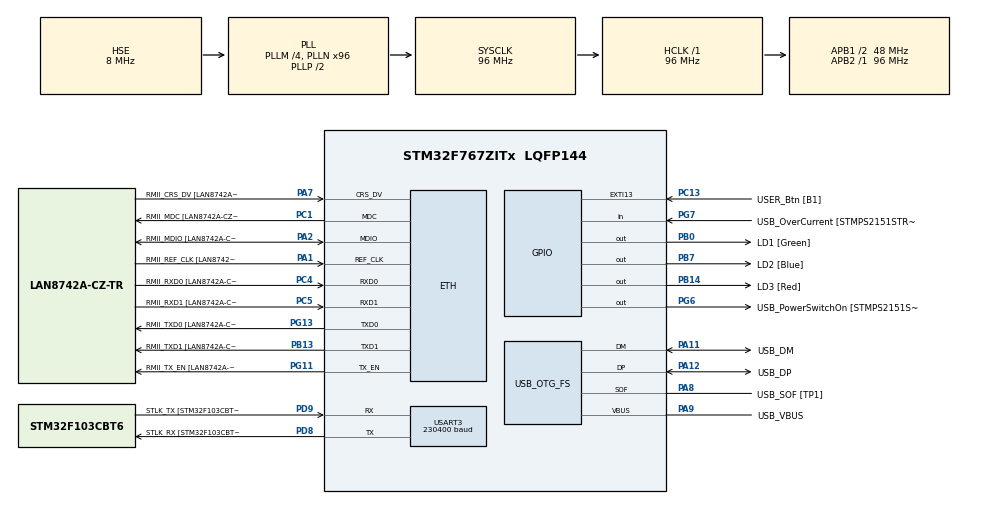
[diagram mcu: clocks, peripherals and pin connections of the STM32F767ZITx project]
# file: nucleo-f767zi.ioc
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ADC1.Channel-0\#ChannelRegularConversion=ADC_CHANNEL_TEMPSENSOR
ADC1.ContinuousConvMode=ENABLE
ADC1.DMAContinuousRequests=ENABLE
ADC1.NbrOfConversionFlag=1
ADC1.Rank-0\#ChannelRegularConversion=1
ADC1.SamplingTime-0\#ChannelRegularConversion=ADC_SAMPLETIME_480CYCLES
ADC1.master=1
CORTEX_M7.default_mode_Activation=1
Dma.ADC1.0.Direction=DMA_PERIPH_TO_MEMORY
Dma.ADC1.0.FIFOMode=DMA_FIFOMODE_DISABLE
Dma.ADC1.0.Instance=DMA2_Stream0
Dma.ADC1.0.MemDataAlignment=DMA_MDATAALIGN_HALFWORD
Dma.ADC1.0.MemInc=DMA_MINC_ENABLE
Dma.ADC1.0.Mode=DMA_CIRCULAR
Dma.ADC1.0.PeriphDataAlignment=DMA_PDATAALIGN_HALFWORD
Dma.ADC1.0.PeriphInc=DMA_PINC_DISABLE
Dma.ADC1.0.Priority=DMA_PRIORITY_LOW
Dma.Request0=ADC1
ETH.MediaInterface=HAL_ETH_RMII_MODE
ETH.PHY_Name=LAN8742A_PHY_ADDRESS
ETH.PHY_Value=0
ETH.PhyAddress=0
Mcu.Family=STM32F7
Mcu.Name=STM32F767ZITx
Mcu.Package=LQFP144
NVIC.DMA2_Stream0_IRQn=true\:0\:0\:false\:false\:true\:false\:true\:true
NVIC.PriorityGroup=NVIC_PRIORITYGROUP_4
NVIC.USART3_IRQn=true\:0\:0\:false\:false\:true\:true\:true\:true
PA1.GPIO_Label=RMII_REF_CLK [LAN8742A-CZ-TR_REFCLK0]
PA1.Mode=RMII
PA1.Signal=ETH_REF_CLK
PA10.GPIO_Label=USB_ID
PA10.Signal=USB_OTG_FS_ID
PA11.GPIO_Label=USB_DM
PA11.Mode=Device_Only
PA11.Signal=USB_OTG_FS_DM
PA12.GPIO_Label=USB_DP
PA12.Mode=Device_Only
PA12.Signal=USB_OTG_FS_DP
PA13.GPIO_Label=TMS
PA13.Mode=Serial_Wire
PA13.Signal=SYS_JTMS-SWDIO
PA14.GPIO_Label=TCK
PA14.Mode=Serial_Wire
PA14.Signal=SYS_JTCK-SWCLK
PA2.GPIO_Label=RMII_MDIO [LAN8742A-CZ-TR_MDIO]
PA2.Mode=RMII
PA2.Signal=ETH_MDIO
PA7.GPIO_Label=RMII_CRS_DV [LAN8742A-CZ-TR_CRS_DV]
PA7.Mode=RMII
PA7.Signal=ETH_CRS_DV
PA8.GPIO_Label=USB_SOF [TP1]
PA8.Mode=Activate_SOF_FS
PA8.Signal=USB_OTG_FS_SOF
PA9.GPIO_Label=USB_VBUS
PA9.Mode=Activate_VBUS
PA9.Signal=USB_OTG_FS_VBUS
PB0.GPIO_Label=LD1 [Green]
PB0.Signal=GPIO_Output
PB13.GPIO_Label=RMII_TXD1 [LAN8742A-CZ-TR_TXD1]
PB13.Mode=RMII
PB13.Signal=ETH_TXD1
PB14.GPIO_Label=LD3 [Red]
PB14.Signal=GPIO_Output
PB3.GPIO_Label=SWO
PB3.Signal=SYS_JTDO-SWO
PB7.GPIO_Label=LD2 [Blue]
PB7.Signal=GPIO_Output
PC1.GPIO_Label=RMII_MDC [LAN8742A-CZ-TR_MDC]
PC1.Mode=RMII
PC1.Signal=ETH_MDC
PC13.GPIO_Label=USER_Btn [B1]
PC13.Signal=GPXTI13
PC14/OSC32_IN.Mode=LSE-External-Oscillator
PC14/OSC32_IN.Signal=RCC_OSC32_IN
PC15/OSC32_OUT.Mode=LSE-External-Oscillator
PC15/OSC32_OUT.Signal=RCC_OSC32_OUT
PC4.GPIO_Label=RMII_RXD0 [LAN8742A-CZ-TR_RXD0]
PC4.Mode=RMII
PC4.Signal=ETH_RXD0
PC5.GPIO_Label=RMII_RXD1 [LAN8742A-CZ-TR_RXD1]
PC5.Mode=RMII
PC5.Signal=ETH_RXD1
PD8.GPIO_Label=STLK_RX [STM32F103CBT6_PA3]
PD8.Mode=Asynchronous
PD8.Signal=USART3_TX
PD9.GPIO_Label=STLK_TX [STM32F103CBT6_PA2]
PD9.Mode=Asynchronous
PD9.Signal=USART3_RX
PG11.GPIO_Label=RMII_TX_EN [LAN8742A-CZ-TR_TXEN]
PG11.Mode=RMII
PG11.Signal=ETH_TX_EN
PG13.GPIO_Label=RMII_TXD0 [LAN8742A-CZ-TR_TXD0]
PG13.Mode=RMII
PG13.Signal=ETH_TXD0
PG6.GPIO_Label=USB_PowerSwitchOn [STMPS2151STR_EN]
PG6.Signal=GPIO_Output
PG7.GPIO_Label=USB_OverCurrent [STMPS2151STR_FAULT]
PG7.Signal=GPIO_Input
PH0/OSC_IN.GPIO_Label=MCO [STM32F103CBT6_PA8]
PH0/OSC_IN.Mode=HSE-External-Clock-Source
PH0/OSC_IN.Signal=RCC_OSC_IN
PH1/OSC_OUT.Mode=HSE-External-Clock-Source
PH1/OSC_OUT.Signal=RCC_OSC_OUT
ProjectManager.HeapSize=0x200
ProjectManager.StackSize=0x400
ProjectManager.TargetToolchain=CMake
RCC.48MHZClocksFreq_Value=24000000
RCC.AHBFreq_Value=96000000
RCC.APB1CLKDivider=RCC_HCLK_DIV2
RCC.APB1Freq_Value=48000000
RCC.APB1TimFreq_Value=96000000
RCC.APB2Freq_Value=96000000
RCC.APB2TimFreq_Value=96000000
RCC.CortexFreq_Value=96000000
RCC.HCLKFreq_Value=96000000
RCC.HSE_VALUE=8000000
RCC.HSI_VALUE=16000000
RCC.PLLM=4
RCC.PLLMUL=RCC_PLL_MUL9
RCC.PLLN=96
RCC.PLLQ=4
RCC.PRESCALERUSB=RCC_USBCLKSOURCE_PLL_DIV1_5
RCC.SYSCLKFreq_VALUE=96000000
RCC.SYSCLKSource=RCC_SYSCLKSOURCE_PLLCLK
RCC.SYSCLKSourceVirtual=RCC_SYSCLKSOURCE_PLLCLK
RCC.USBFreq_Value=48000000
RCC.VCOOutputFreq_Value=192000000
USART3.BaudRate=230400
USART3.Mode=MODE_TX
USART3.VirtualMode-Asynchronous=VM_ASYNC
USB_OTG_FS.VirtualMode=Device_Only
VP_ADC1_TempSens_Input.Mode=IN-TempSens
VP_RNG_VS_RNG.Mode=RNG_Activate
board=NUCLEO-F767ZI

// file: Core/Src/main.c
/* USER CODE BEGIN Header */
/**
 ******************************************************************************
 * @file           : main.c
 * @brief          : Main program body
 ******************************************************************************
 * @attention
 *
 * Copyright (c) 2026 STMicroelectronics.
 * All rights reserved.
 *
 * This software is licensed under terms that can be found in the LICENSE file
 * in the root directory of this software component.
 * If no LICENSE file comes with this software, it is provided AS-IS.
 *
 ******************************************************************************
 */
/* USER CODE END Header */
#include "main.h"
#include "string.h"

/* USER CODE BEGIN Includes */
#include <stdio.h>

/* USER CODE END Includes */

/* USER CODE BEGIN PD */
#define UART3_TX_BUF_LEN 1024

/* USER CODE END PD */

#if defined(__ICCARM__) /*!< IAR Compiler */
#pragma location = 0x2007c000
ETH_DMADescTypeDef
    DMARxDscrTab[ETH_RX_DESC_CNT]; /* Ethernet Rx DMA Descriptors */
#pragma location = 0x2007c0a0
ETH_DMADescTypeDef
    DMATxDscrTab[ETH_TX_DESC_CNT]; /* Ethernet Tx DMA Descriptors */

#elif defined(__CC_ARM) /* MDK ARM Compiler */

__attribute__((at(0x2007c000))) ETH_DMADescTypeDef
    DMARxDscrTab[ETH_RX_DESC_CNT]; /* Ethernet Rx DMA Descriptors */
__attribute__((at(0x2007c0a0))) ETH_DMADescTypeDef
    DMATxDscrTab[ETH_TX_DESC_CNT]; /* Ethernet Tx DMA Descriptors */

#elif defined(__GNUC__) /* GNU Compiler */

ETH_DMADescTypeDef DMARxDscrTab[ETH_RX_DESC_CNT] __attribute__((
    section(".RxDecripSection"))); /* Ethernet Rx DMA Descriptors */
ETH_DMADescTypeDef DMATxDscrTab[ETH_TX_DESC_CNT] __attribute__((
    section(".TxDecripSection"))); /* Ethernet Tx DMA Descriptors */
#endif

ETH_TxPacketConfig TxConfig;

ADC_HandleTypeDef hadc1;
DMA_HandleTypeDef hdma_adc1;

ETH_HandleTypeDef heth;

RNG_HandleTypeDef hrng;

UART_HandleTypeDef huart3;

PCD_HandleTypeDef hpcd_USB_OTG_FS;

/* USER CODE BEGIN PV */
uint8_t uart3_tx_buf[UART3_TX_BUF_LEN];
uint32_t uart3_tx_head = 0;
uint32_t uart3_tx_tail = 0;

uint16_t adc_temperature[1];

/* USER CODE END PV */

void SystemClock_Config(void);
static void MPU_Config(void);
static void MX_GPIO_Init(void);
static void MX_DMA_Init(void);
static void MX_ETH_Init(void);
static void MX_USART3_UART_Init(void);
static void MX_USB_OTG_FS_PCD_Init(void);
static void MX_RNG_Init(void);
static void MX_ADC1_Init(void);
/* USER CODE BEGIN PFP */
void LED_Blink_Step();
void Uart3_Tx_Step();
void Adc_Temperature_Print_Step();

int __io_putchar(int ch);

/* USER CODE END PFP */

/* USER CODE BEGIN 0 */
void LED_Blink_Step() {
  HAL_GPIO_TogglePin(LD1_GPIO_Port, LD1_Pin);
  HAL_GPIO_TogglePin(LD2_GPIO_Port, LD2_Pin);
  HAL_GPIO_TogglePin(LD3_GPIO_Port, LD3_Pin);
}

void Uart3_Tx_Step() {
  if (huart3.gState != HAL_UART_STATE_READY) {
    return;
  }

  fflush(stdout);

  uint32_t len;
  if (uart3_tx_head >= uart3_tx_tail) {
    len = uart3_tx_head - uart3_tx_tail;
  } else {
    len = UART3_TX_BUF_LEN + uart3_tx_head - uart3_tx_tail;
  }
  if (len == 0) {
    return;
  }

  uint32_t chunk = UART3_TX_BUF_LEN - uart3_tx_tail;
  if (chunk > len) {
    chunk = len;
  }

  HAL_UART_Transmit_IT(&huart3, uart3_tx_buf + uart3_tx_tail, chunk);
  uart3_tx_tail += chunk;
  uart3_tx_tail %= UART3_TX_BUF_LEN;
}

void Adc_Temperature_Print_Step() {
  float vsence = adc_temperature[0] * 3.3f / 4095.0f;
  float temperature = (vsence - 0.76f) / 0.0025f + 25.0f;
  printf("temperature: %.03f\n", temperature);
}

int __io_putchar(int ch) {
  uart3_tx_buf[uart3_tx_head] = (uint8_t)ch;
  uart3_tx_head += 1;
  uart3_tx_head %= UART3_TX_BUF_LEN;
  return ch;
}

/* USER CODE END 0 */

int main(void) {

  /* MPU Configuration--------------------------------------------------------*/
  MPU_Config();

  /* MCU Configuration--------------------------------------------------------*/

  /* Reset of all peripherals, Initializes the Flash interface and the Systick.
   */
  HAL_Init();

  /* Configure the system clock */
  SystemClock_Config();

  /* Initialize all configured peripherals */
  MX_GPIO_Init();
  MX_DMA_Init();
  MX_ETH_Init();
  MX_USART3_UART_Init();
  MX_USB_OTG_FS_PCD_Init();
  MX_RNG_Init();
  MX_ADC1_Init();
  /* USER CODE BEGIN 2 */
  printf("\nSYSCLK: %.3fM\n", HAL_RCC_GetSysClockFreq() / 1000000.0);

  HAL_ADC_Start_DMA(&hadc1, (uint32_t *)adc_temperature, 1);

  /* USER CODE END 2 */

  /* Infinite loop */
  while (1) {

    /* USER CODE BEGIN 3 */
    Uart3_Tx_Step();

    {
      static uint32_t last = 0;
      static uint32_t delay = 0;
      uint32_t now = HAL_GetTick();
      if (now - last >= delay) {
        last = now;
        delay = HAL_RNG_GetRandomNumber(&hrng) % 1000;
        printf("led delay %03lu\n", delay);
        LED_Blink_Step();
      }
    }

    {
      static uint32_t last = 0;
      static uint32_t delay = 1000;
      uint32_t now = HAL_GetTick();
      if (now - last >= delay) {
        last = now;
        Adc_Temperature_Print_Step();
      }
    }
  }
  /* USER CODE END 3 */
}

void SystemClock_Config(void) {
  RCC_OscInitTypeDef RCC_OscInitStruct = {0};
  RCC_ClkInitTypeDef RCC_ClkInitStruct = {0};

  /** Configure LSE Drive Capability
   */
  HAL_PWR_EnableBkUpAccess();

  /** Configure the main internal regulator output voltage
   */
  __HAL_RCC_PWR_CLK_ENABLE();
  __HAL_PWR_VOLTAGESCALING_CONFIG(PWR_REGULATOR_VOLTAGE_SCALE3);

  /** Initializes the RCC Oscillators according to the specified parameters
   * in the RCC_OscInitTypeDef structure.
   */
  RCC_OscInitStruct.OscillatorType = RCC_OSCILLATORTYPE_HSE;
  RCC_OscInitStruct.HSEState = RCC_HSE_BYPASS;
  RCC_OscInitStruct.PLL.PLLState = RCC_PLL_ON;
  RCC_OscInitStruct.PLL.PLLSource = RCC_PLLSOURCE_HSE;
  RCC_OscInitStruct.PLL.PLLM = 4;
  RCC_OscInitStruct.PLL.PLLN = 96;
  RCC_OscInitStruct.PLL.PLLP = RCC_PLLP_DIV2;
  RCC_OscInitStruct.PLL.PLLQ = 4;
  RCC_OscInitStruct.PLL.PLLR = 2;
  if (HAL_RCC_OscConfig(&RCC_OscInitStruct) != HAL_OK) {
    Error_Handler();
  }

  /** Activate the Over-Drive mode
   */
  if (HAL_PWREx_EnableOverDrive() != HAL_OK) {
    Error_Handler();
  }

  /** Initializes the CPU, AHB and APB buses clocks
   */
  RCC_ClkInitStruct.ClockType = RCC_CLOCKTYPE_HCLK | RCC_CLOCKTYPE_SYSCLK |
                                RCC_CLOCKTYPE_PCLK1 | RCC_CLOCKTYPE_PCLK2;
  RCC_ClkInitStruct.SYSCLKSource = RCC_SYSCLKSOURCE_PLLCLK;
  RCC_ClkInitStruct.AHBCLKDivider = RCC_SYSCLK_DIV1;
  RCC_ClkInitStruct.APB1CLKDivider = RCC_HCLK_DIV2;
  RCC_ClkInitStruct.APB2CLKDivider = RCC_HCLK_DIV1;

  if (HAL_RCC_ClockConfig(&RCC_ClkInitStruct, FLASH_LATENCY_3) != HAL_OK) {
    Error_Handler();
  }
}

static void MX_ADC1_Init(void) {

  ADC_ChannelConfTypeDef sConfig = {0};

  /** Configure the global features of the ADC (Clock, Resolution, Data
   * Alignment and number of conversion)
   */
  hadc1.Instance = ADC1;
  hadc1.Init.ClockPrescaler = ADC_CLOCK_SYNC_PCLK_DIV4;
  hadc1.Init.Resolution = ADC_RESOLUTION_12B;
  hadc1.Init.ScanConvMode = ADC_SCAN_DISABLE;
  hadc1.Init.ContinuousConvMode = ENABLE;
  hadc1.Init.DiscontinuousConvMode = DISABLE;
  hadc1.Init.ExternalTrigConvEdge = ADC_EXTERNALTRIGCONVEDGE_NONE;
  hadc1.Init.ExternalTrigConv = ADC_SOFTWARE_START;
  hadc1.Init.DataAlign = ADC_DATAALIGN_RIGHT;
  hadc1.Init.NbrOfConversion = 1;
  hadc1.Init.DMAContinuousRequests = ENABLE;
  hadc1.Init.EOCSelection = ADC_EOC_SINGLE_CONV;
  if (HAL_ADC_Init(&hadc1) != HAL_OK) {
    Error_Handler();
  }

  /** Configure for the selected ADC regular channel its corresponding rank in
   * the sequencer and its sample time.
   */
  sConfig.Channel = ADC_CHANNEL_TEMPSENSOR;
  sConfig.Rank = ADC_REGULAR_RANK_1;
  sConfig.SamplingTime = ADC_SAMPLETIME_480CYCLES;
  if (HAL_ADC_ConfigChannel(&hadc1, &sConfig) != HAL_OK) {
    Error_Handler();
  }
}

static void MX_ETH_Init(void) {

  static uint8_t MACAddr[6];

  heth.Instance = ETH;
  MACAddr[0] = 0x00;
  MACAddr[1] = 0x80;
  MACAddr[2] = 0xE1;
  MACAddr[3] = 0x00;
  MACAddr[4] = 0x00;
  MACAddr[5] = 0x00;
  heth.Init.MACAddr = &MACAddr[0];
  heth.Init.MediaInterface = HAL_ETH_RMII_MODE;
  heth.Init.TxDesc = DMATxDscrTab;
  heth.Init.RxDesc = DMARxDscrTab;
  heth.Init.RxBuffLen = 1524;

  if (HAL_ETH_Init(&heth) != HAL_OK) {
    Error_Handler();
  }

  memset(&TxConfig, 0, sizeof(ETH_TxPacketConfig));
  TxConfig.Attributes =
      ETH_TX_PACKETS_FEATURES_CSUM | ETH_TX_PACKETS_FEATURES_CRCPAD;
  TxConfig.ChecksumCtrl = ETH_CHECKSUM_IPHDR_PAYLOAD_INSERT_PHDR_CALC;
  TxConfig.CRCPadCtrl = ETH_CRC_PAD_INSERT;
}

static void MX_RNG_Init(void) {

  hrng.Instance = RNG;
  if (HAL_RNG_Init(&hrng) != HAL_OK) {
    Error_Handler();
  }
}

static void MX_USART3_UART_Init(void) {

  huart3.Instance = USART3;
  huart3.Init.BaudRate = 230400;
  huart3.Init.WordLength = UART_WORDLENGTH_8B;
  huart3.Init.StopBits = UART_STOPBITS_1;
  huart3.Init.Parity = UART_PARITY_NONE;
  huart3.Init.Mode = UART_MODE_TX;
  huart3.Init.HwFlowCtl = UART_HWCONTROL_NONE;
  huart3.Init.OverSampling = UART_OVERSAMPLING_16;
  huart3.Init.OneBitSampling = UART_ONE_BIT_SAMPLE_DISABLE;
  huart3.AdvancedInit.AdvFeatureInit = UART_ADVFEATURE_NO_INIT;
  if (HAL_UART_Init(&huart3) != HAL_OK) {
    Error_Handler();
  }
}

static void MX_USB_OTG_FS_PCD_Init(void) {

  hpcd_USB_OTG_FS.Instance = USB_OTG_FS;
  hpcd_USB_OTG_FS.Init.dev_endpoints = 6;
  hpcd_USB_OTG_FS.Init.speed = PCD_SPEED_FULL;
  hpcd_USB_OTG_FS.Init.dma_enable = DISABLE;
  hpcd_USB_OTG_FS.Init.phy_itface = PCD_PHY_EMBEDDED;
  hpcd_USB_OTG_FS.Init.Sof_enable = ENABLE;
  hpcd_USB_OTG_FS.Init.low_power_enable = DISABLE;
  hpcd_USB_OTG_FS.Init.lpm_enable = DISABLE;
  hpcd_USB_OTG_FS.Init.vbus_sensing_enable = ENABLE;
  hpcd_USB_OTG_FS.Init.use_dedicated_ep1 = DISABLE;
  if (HAL_PCD_Init(&hpcd_USB_OTG_FS) != HAL_OK) {
    Error_Handler();
  }
}

static void MX_DMA_Init(void) {

  /* DMA controller clock enable */
  __HAL_RCC_DMA2_CLK_ENABLE();

  /* DMA interrupt init */
  /* DMA2_Stream0_IRQn interrupt configuration */
  HAL_NVIC_SetPriority(DMA2_Stream0_IRQn, 0, 0);
  HAL_NVIC_EnableIRQ(DMA2_Stream0_IRQn);
}

static void MX_GPIO_Init(void) {
  GPIO_InitTypeDef GPIO_InitStruct = {0};

  /* GPIO Ports Clock Enable */
  __HAL_RCC_GPIOE_CLK_ENABLE();
  __HAL_RCC_GPIOC_CLK_ENABLE();
  __HAL_RCC_GPIOF_CLK_ENABLE();
  __HAL_RCC_GPIOH_CLK_ENABLE();
  __HAL_RCC_GPIOA_CLK_ENABLE();
  __HAL_RCC_GPIOB_CLK_ENABLE();
  __HAL_RCC_GPIOG_CLK_ENABLE();
  __HAL_RCC_GPIOD_CLK_ENABLE();

  /*Configure GPIO pin Output Level */
  HAL_GPIO_WritePin(GPIOB, LD1_Pin | LD3_Pin | LD2_Pin, GPIO_PIN_RESET);

  /*Configure GPIO pin Output Level */
  HAL_GPIO_WritePin(USB_PowerSwitchOn_GPIO_Port, USB_PowerSwitchOn_Pin,
                    GPIO_PIN_RESET);

  /*Configure GPIO pins : PE2 PE3 PE4 PE5
                           PE6 PE7 PE8 PE9
                           PE10 PE11 PE12 PE13
                           PE14 PE15 PE0 PE1 */
  GPIO_InitStruct.Pin = GPIO_PIN_2 | GPIO_PIN_3 | GPIO_PIN_4 | GPIO_PIN_5 |
                        GPIO_PIN_6 | GPIO_PIN_7 | GPIO_PIN_8 | GPIO_PIN_9 |
                        GPIO_PIN_10 | GPIO_PIN_11 | GPIO_PIN_12 | GPIO_PIN_13 |
                        GPIO_PIN_14 | GPIO_PIN_15 | GPIO_PIN_0 | GPIO_PIN_1;
  GPIO_InitStruct.Mode = GPIO_MODE_ANALOG;
  GPIO_InitStruct.Pull = GPIO_NOPULL;
  HAL_GPIO_Init(GPIOE, &GPIO_InitStruct);

  /*Configure GPIO pin : USER_Btn_Pin */
  GPIO_InitStruct.Pin = USER_Btn_Pin;
  GPIO_InitStruct.Mode = GPIO_MODE_IT_RISING;
  GPIO_InitStruct.Pull = GPIO_NOPULL;
  HAL_GPIO_Init(USER_Btn_GPIO_Port, &GPIO_InitStruct);

  /*Configure GPIO pins : PF0 PF1 PF2 PF3
                           PF4 PF5 PF6 PF7
                           PF8 PF9 PF10 PF11
                           PF12 PF13 PF14 PF15 */
  GPIO_InitStruct.Pin = GPIO_PIN_0 | GPIO_PIN_1 | GPIO_PIN_2 | GPIO_PIN_3 |
                        GPIO_PIN_4 | GPIO_PIN_5 | GPIO_PIN_6 | GPIO_PIN_7 |
                        GPIO_PIN_8 | GPIO_PIN_9 | GPIO_PIN_10 | GPIO_PIN_11 |
                        GPIO_PIN_12 | GPIO_PIN_13 | GPIO_PIN_14 | GPIO_PIN_15;
  GPIO_InitStruct.Mode = GPIO_MODE_ANALOG;
  GPIO_InitStruct.Pull = GPIO_NOPULL;
  HAL_GPIO_Init(GPIOF, &GPIO_InitStruct);

  /*Configure GPIO pins : PC0 PC2 PC3 PC6
                           PC7 PC8 PC9 PC10
                           PC11 PC12 */
  GPIO_InitStruct.Pin = GPIO_PIN_0 | GPIO_PIN_2 | GPIO_PIN_3 | GPIO_PIN_6 |
                        GPIO_PIN_7 | GPIO_PIN_8 | GPIO_PIN_9 | GPIO_PIN_10 |
                        GPIO_PIN_11 | GPIO_PIN_12;
  GPIO_InitStruct.Mode = GPIO_MODE_ANALOG;
  GPIO_InitStruct.Pull = GPIO_NOPULL;
  HAL_GPIO_Init(GPIOC, &GPIO_InitStruct);

  /*Configure GPIO pins : PA0 PA3 PA4 PA5
                           PA6 PA15 */
  GPIO_InitStruct.Pin = GPIO_PIN_0 | GPIO_PIN_3 | GPIO_PIN_4 | GPIO_PIN_5 |
                        GPIO_PIN_6 | GPIO_PIN_15;
  GPIO_InitStruct.Mode = GPIO_MODE_ANALOG;
  GPIO_InitStruct.Pull = GPIO_NOPULL;
  HAL_GPIO_Init(GPIOA, &GPIO_InitStruct);

  /*Configure GPIO pins : LD1_Pin LD3_Pin LD2_Pin */
  GPIO_InitStruct.Pin = LD1_Pin | LD3_Pin | LD2_Pin;
  GPIO_InitStruct.Mode = GPIO_MODE_OUTPUT_PP;
  GPIO_InitStruct.Pull = GPIO_NOPULL;
  GPIO_InitStruct.Speed = GPIO_SPEED_FREQ_LOW;
  HAL_GPIO_Init(GPIOB, &GPIO_InitStruct);

  /*Configure GPIO pins : PB1 PB2 PB10 PB11
                           PB12 PB15 PB4 PB5
                           PB6 PB8 PB9 */
  GPIO_InitStruct.Pin = GPIO_PIN_1 | GPIO_PIN_2 | GPIO_PIN_10 | GPIO_PIN_11 |
                        GPIO_PIN_12 | GPIO_PIN_15 | GPIO_PIN_4 | GPIO_PIN_5 |
                        GPIO_PIN_6 | GPIO_PIN_8 | GPIO_PIN_9;
  GPIO_InitStruct.Mode = GPIO_MODE_ANALOG;
  GPIO_InitStruct.Pull = GPIO_NOPULL;
  HAL_GPIO_Init(GPIOB, &GPIO_InitStruct);

  /*Configure GPIO pins : PG0 PG1 PG2 PG3
                           PG4 PG5 PG8 PG9
                           PG10 PG12 PG14 PG15 */
  GPIO_InitStruct.Pin = GPIO_PIN_0 | GPIO_PIN_1 | GPIO_PIN_2 | GPIO_PIN_3 |
                        GPIO_PIN_4 | GPIO_PIN_5 | GPIO_PIN_8 | GPIO_PIN_9 |
                        GPIO_PIN_10 | GPIO_PIN_12 | GPIO_PIN_14 | GPIO_PIN_15;
  GPIO_InitStruct.Mode = GPIO_MODE_ANALOG;
  GPIO_InitStruct.Pull = GPIO_NOPULL;
  HAL_GPIO_Init(GPIOG, &GPIO_InitStruct);

  /*Configure GPIO pins : PD10 PD11 PD12 PD13
                           PD14 PD15 PD0 PD1
                           PD2 PD3 PD4 PD5
                           PD6 PD7 */
  GPIO_InitStruct.Pin = GPIO_PIN_10 | GPIO_PIN_11 | GPIO_PIN_12 | GPIO_PIN_13 |
                        GPIO_PIN_14 | GPIO_PIN_15 | GPIO_PIN_0 | GPIO_PIN_1 |
                        GPIO_PIN_2 | GPIO_PIN_3 | GPIO_PIN_4 | GPIO_PIN_5 |
                        GPIO_PIN_6 | GPIO_PIN_7;
  GPIO_InitStruct.Mode = GPIO_MODE_ANALOG;
  GPIO_InitStruct.Pull = GPIO_NOPULL;
  HAL_GPIO_Init(GPIOD, &GPIO_InitStruct);

  /*Configure GPIO pin : USB_PowerSwitchOn_Pin */
  GPIO_InitStruct.Pin = USB_PowerSwitchOn_Pin;
  GPIO_InitStruct.Mode = GPIO_MODE_OUTPUT_PP;
  GPIO_InitStruct.Pull = GPIO_NOPULL;
  GPIO_InitStruct.Speed = GPIO_SPEED_FREQ_LOW;
  HAL_GPIO_Init(USB_PowerSwitchOn_GPIO_Port, &GPIO_InitStruct);

  /*Configure GPIO pin : USB_OverCurrent_Pin */
  GPIO_InitStruct.Pin = USB_OverCurrent_Pin;
  GPIO_InitStruct.Mode = GPIO_MODE_INPUT;
  GPIO_InitStruct.Pull = GPIO_NOPULL;
  HAL_GPIO_Init(USB_OverCurrent_GPIO_Port, &GPIO_InitStruct);

}

/* MPU Configuration */

void MPU_Config(void) {
  MPU_Region_InitTypeDef MPU_InitStruct = {0};

  /* Disables the MPU */
  HAL_MPU_Disable();

  /** Initializes and configures the Region and the memory to be protected
   */
  MPU_InitStruct.Enable = MPU_REGION_ENABLE;
  MPU_InitStruct.Number = MPU_REGION_NUMBER0;
  MPU_InitStruct.BaseAddress = 0x0;
  MPU_InitStruct.Size = MPU_REGION_SIZE_4GB;
  MPU_InitStruct.SubRegionDisable = 0x87;
  MPU_InitStruct.TypeExtField = MPU_TEX_LEVEL0;
  MPU_InitStruct.AccessPermission = MPU_REGION_NO_ACCESS;
  MPU_InitStruct.DisableExec = MPU_INSTRUCTION_ACCESS_DISABLE;
  MPU_InitStruct.IsShareable = MPU_ACCESS_SHAREABLE;
  MPU_InitStruct.IsCacheable = MPU_ACCESS_NOT_CACHEABLE;
  MPU_InitStruct.IsBufferable = MPU_ACCESS_NOT_BUFFERABLE;

  HAL_MPU_ConfigRegion(&MPU_InitStruct);
  /* Enables the MPU */
  HAL_MPU_Enable(MPU_PRIVILEGED_DEFAULT);
}

void Error_Handler(void) {
  __disable_irq();
  while (1) {
  }
}
#ifdef USE_FULL_ASSERT
/**
 * @brief  Reports the name of the source file and the source line number
 *         where the assert_param error has occurred.
 * @param  file: pointer to the source file name
 * @param  line: assert_param error line source number
 * @retval None
 */
void assert_failed(uint8_t *file, uint32_t line) {
  /* USER CODE BEGIN 6 */
  /* User can add his own implementation to report the file name and line
     number, ex: printf("Wrong parameters value: file %s on line %d\r\n", file,
     line) */
  /* USER CODE END 6 */
}
#endif /* USE_FULL_ASSERT */
